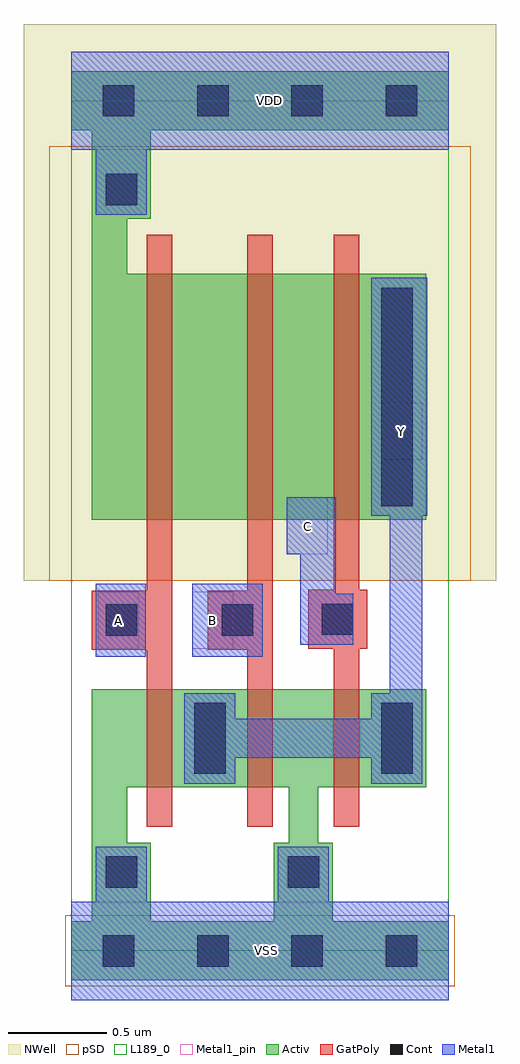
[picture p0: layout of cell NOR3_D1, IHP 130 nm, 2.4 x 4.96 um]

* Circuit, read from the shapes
.subckt NOR3_D1 A B C VDD VSS Y
XM1 Y A VSS VSS sg13_lv_nmos w=0.5u l=0.13u
XM2 VSS B Y VSS sg13_lv_nmos w=0.5u l=0.13u
XM3 Y C VSS VSS sg13_lv_nmos w=0.5u l=0.13u
XM4 n1 A VDD VDD sg13_lv_pmos w=1.25u l=0.13u
XM5 n2 B n1 VDD sg13_lv_pmos w=1.25u l=0.13u
XM6 Y C n2 VDD sg13_lv_pmos w=1.25u l=0.13u
.ends

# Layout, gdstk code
import gdstk
lib = gdstk.Library(unit=1e-6, precision=1e-09)
def R(c, l, rs):  # rectangles x0, y0, x1, y1
    for r in rs: c.add(gdstk.rectangle(r[:2], r[2:], *l))
def A(c, l, x, y, w, h, nx, ny, dx, dy):  # array of equal rectangles
    R(c, l, [(x+i*dx, y+j*dy, x+i*dx+w, y+j*dy+h) for i in range(nx) for j in range(ny)])
def P(c, l, *ps):  # polygons
    for p in ps: c.add(gdstk.Polygon(p, *l))
Activ = (1, 0)
GatPoly = (5, 0)
Cont = (6, 0)
Metal1 = (8, 0)
Metal1_pin = (8, 2)
pSD = (14, 0)
NWell = (31, 0)
L189_0 = (189, 0)

nor3_d1 = lib.new_cell('NOR3_D1')
P(nor3_d1, Activ, [(0.105,2.19),(0.105,4.17),(0,4.17),(0,4.47),(1.92,4.47),(1.92,4.17),(0.405,4.17),(0.405,3.72),(0.285,3.72),(0.285,3.44),(1.805,3.44),(1.805,2.19)],
  [(0,-0.15),(0,0.15),(0.105,0.15),(0.105,0.55),(0.285,0.55),(0.405,0.55),(0.405,0.15),(1.03,0.15),(1.03,0.55),(1.105,0.55),(1.105,0.83),(0.285,0.83),(0.285,0.55),(0.105,0.55),(0.105,1.33),(1.805,1.33),(1.805,0.83),(1.255,0.83),(1.255,0.55),(1.33,0.55),(1.33,0.15),(1.92,0.15),(1.92,-0.15)])
P(nor3_d1, GatPoly, [(0.385,0.63),(0.385,1.53),(0.105,1.53),(0.105,1.83),(0.385,1.83),(0.385,3.64),(0.515,3.64),(0.515,0.63)],
  [(1.335,0.63),(1.335,1.535),(1.205,1.535),(1.205,1.835),(1.335,1.835),(1.335,3.64),(1.465,3.64),(1.465,1.835),(1.505,1.835),(1.505,1.535),(1.465,1.535),(1.465,0.63)],
  [(0.895,0.63),(0.895,1.53),(0.695,1.53),(0.695,1.83),(0.895,1.83),(0.895,3.64),(1.025,3.64),(1.025,0.63)])
A(nor3_d1, Cont, 0.16, -0.08, 0.16, 0.16, 4, 2, 0.48, 4.32)
R(nor3_d1, Cont, [(0.175,0.32,0.335,0.48), (1.1,0.32,1.26,0.48), (0.625,0.9,0.785,1.26), (1.575,0.9,1.735,1.26), (0.175,1.6,0.335,1.76), (0.765,1.6,0.925,1.76), (1.275,1.605,1.435,1.765), (1.575,2.26,1.735,3.37), (0.175,3.79,0.335,3.95)])
R(nor3_d1, Metal1, [(0.125,1.495,0.38,1.865), (0.615,1.495,0.975,1.865)])
P(nor3_d1, Metal1, [(1.165,1.555),(1.165,2.015),(1.095,2.015),(1.095,2.305),(1.345,2.305),(1.345,1.815),(1.435,1.815),(1.435,1.555)],
  [(0.125,3.74),(0.125,4.07),(0,4.07),(0,4.57),(1.92,4.57),(1.92,4.07),(0.385,4.07),(0.385,3.74)],
  [(0.575,0.85),(0.575,1.31),(0.835,1.31),(0.835,1.18),(1.525,1.18),(1.525,1.31),(1.62,1.31),(1.62,2.21),(1.525,2.21),(1.525,3.42),(1.81,3.42),(1.81,2.21),(1.785,2.21),(1.785,0.85),(1.525,0.85),(1.525,0.98),(0.835,0.98),(0.835,0.85)],
  [(0,-0.25),(0,0.25),(0.125,0.25),(0.125,0.53),(0.385,0.53),(0.385,0.25),(1.05,0.25),(1.05,0.53),(1.31,0.53),(1.31,0.25),(1.92,0.25),(1.92,-0.25)])
R(nor3_d1, Metal1_pin, [(0,-0.25,1.92,0.25), (0.135,1.535,0.345,1.825), (0.615,1.535,0.825,1.825), (1.095,2.015,1.305,2.305), (1.575,2.495,1.785,2.785), (0,4.07,1.92,4.57)])
R(nor3_d1, pSD, [(-0.03,-0.18,1.95,0.18), (-0.11,1.88,2.03,4.09)])
R(nor3_d1, NWell, [(-0.24,1.88,2.16,4.71)])
R(nor3_d1, L189_0, [(0,0,1.92,4.32)])
nor3_d1.add(gdstk.Label('Y', (1.68,2.64), layer=8, texttype=25))
nor3_d1.add(gdstk.Label('C', (1.2,2.155), layer=8, texttype=25))
nor3_d1.add(gdstk.Label('B', (0.72,1.68), layer=8, texttype=25))
nor3_d1.add(gdstk.Label('A', (0.24,1.68), layer=8, texttype=25))
nor3_d1.add(gdstk.Label('VDD', (1.01,4.32), layer=8, texttype=25))
nor3_d1.add(gdstk.Label('VSS', (0.995,0), layer=8, texttype=25))

lib.write_gds('NOR3_D1.gds')
